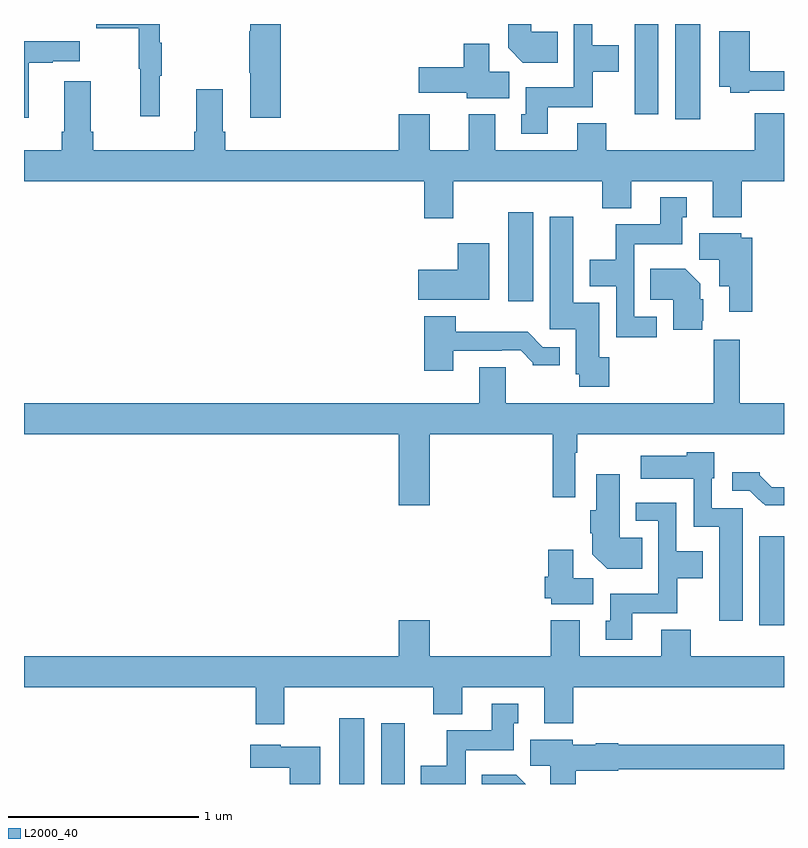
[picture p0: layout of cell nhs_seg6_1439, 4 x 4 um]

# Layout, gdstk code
import gdstk
lib = gdstk.Library(unit=1e-6, precision=1e-09)
def R(c, l, rs):  # rectangles x0, y0, x1, y1
    for r in rs: c.add(gdstk.rectangle(r[:2], r[2:], *l))
def P(c, l, *ps):  # polygons
    for p in ps: c.add(gdstk.Polygon(p, *l))
L2000_40 = (2000, 40)

nhs_seg6_1439 = lib.new_cell('nhs_seg6_1439')
R(nhs_seg6_1439, L2000_40, [(200.66,941.5,200.791,941.845), (200.879,941.5,201.004,941.821), (202.871,942.336,203,942.805), (201.548,944.04,201.679,944.509), (202.427,945,202.558,945.5), (202.214,945.024,202.339,945.5)])
P(nhs_seg6_1439, L2000_40, [(199.715,945.227),(199.726,945.227),(199.726,945.401),(199.715,945.401),(199.715,945.5),(199,945.5),(199,945.498),(199.381,945.498),(199.381,945.478),(199.605,945.478),(199.605,945.264),(199.612,945.264),(199.612,945.015),(199.715,945.015)],
  [(200.351,945.5),(200.192,945.5),(200.192,945.461),(200.185,945.461),(200.185,945.244),(200.192,945.244),(200.192,945.006),(200.351,945.006)],
  [(201.809,945.46),(201.67,945.46),(201.67,945.5),(201.548,945.5),(201.548,945.374),(201.626,945.296),(201.809,945.296)],
  [(201.757,945.062),(201.993,945.062),(201.993,945.248),(202.129,945.248),(202.129,945.388),(201.99,945.388),(201.99,945.5),(201.894,945.5),(201.894,945.166),(201.641,945.166),(201.641,945.024),(201.617,945.024),(201.617,944.922),(201.757,944.922)],
  [(202.816,945.15),(203,945.15),(203,945.251),(202.82,945.251),(202.82,945.463),(202.658,945.463),(202.658,945.17),(202.716,945.17),(202.716,945.138),(202.816,945.138)],
  [(199.024,945.295),(199.151,945.295),(199.151,945.305),(199.294,945.305),(199.294,945.409),(199,945.409),(199,945.006),(199.024,945.006)],
  [(201.553,945.248),(201.448,945.248),(201.448,945.397),(201.314,945.397),(201.314,945.272),(201.078,945.272),(201.078,945.137),(201.33,945.137),(201.33,945.11),(201.553,945.11)],
  [(201.259,944.672),(202.043,944.672),(202.043,944.531),(202.195,944.531),(202.195,944.672),(202.625,944.672),(202.625,944.483),(202.778,944.483),(202.778,944.672),(203,944.672),(203,945.031),(202.847,945.031),(202.847,944.836),(202.064,944.836),(202.064,944.977),(201.911,944.977),(201.911,944.836),(201.481,944.836),(201.481,945.025),(201.341,945.025),(201.341,944.836),(201.136,944.836),(201.136,945.025),(200.972,945.025),(200.972,944.836),(200.06,944.836),(200.06,944.932),(200.047,944.932),(200.047,945.157),(199.907,945.157),(199.907,944.932),(199.895,944.932),(199.895,944.836),(199.364,944.836),(199.364,944.932),(199.351,944.932),(199.351,945.199),(199.211,945.199),(199.211,944.932),(199.199,944.932),(199.199,944.836),(199,944.836),(199,944.672),(201.107,944.672),(201.107,944.478),(201.259,944.478)],
  [(202.33,943.959),(202.212,943.959),(202.212,944.342),(202.465,944.342),(202.465,944.484),(202.489,944.484),(202.489,944.587),(202.349,944.587),(202.349,944.446),(202.114,944.446),(202.114,944.26),(201.977,944.26),(201.977,944.12),(202.116,944.12),(202.116,943.851),(202.33,943.851)],
  [(202.079,943.746),(202.027,943.746),(202.027,944.032),(201.892,944.032),(201.892,944.485),(201.767,944.485),(201.767,943.893),(201.905,943.893),(201.905,943.656),(201.922,943.656),(201.922,943.59),(202.079,943.59)],
  [(202.834,944.374),(202.776,944.374),(202.776,944.398),(202.553,944.398),(202.553,944.26),(202.658,944.26),(202.658,944.12),(202.712,944.12),(202.712,943.986),(202.834,943.986)],
  [(201.448,944.347),(201.284,944.347),(201.284,944.206),(201.075,944.206),(201.075,944.048),(201.448,944.048)],
  [(202.57,943.938),(202.576,943.938),(202.576,944.052),(202.558,944.052),(202.558,944.134),(202.48,944.212),(202.297,944.212),(202.297,944.048),(202.418,944.048),(202.418,943.891),(202.57,943.891)],
  [(201.259,943.779),(201.515,943.779),(201.515,943.782),(201.614,943.782),(201.678,943.718),(201.678,943.703),(201.82,943.703),(201.82,943.8),(201.729,943.8),(201.651,943.879),(201.272,943.879),(201.272,943.963),(201.107,943.963),(201.107,943.674),(201.259,943.674)],
  [(201.136,943.34),(201.784,943.34),(201.784,943.008),(201.9,943.008),(201.9,943.244),(201.913,943.244),(201.913,943.34),(203,943.34),(203,943.504),(202.766,943.504),(202.766,943.837),(202.63,943.837),(202.63,943.504),(201.535,943.504),(201.535,943.694),(201.395,943.694),(201.395,943.504),(199,943.504),(199,943.34),(200.972,943.34),(200.972,942.966),(201.136,942.966)],
  [(202.783,942.951),(202.62,942.951),(202.62,943.11),(202.633,943.11),(202.633,943.246),(202.488,943.246),(202.488,943.228),(202.245,943.228),(202.245,943.106),(202.524,943.106),(202.524,942.854),(202.658,942.854),(202.658,942.36),(202.783,942.36)],
  [(203,943.062),(202.936,943.062),(202.872,943.126),(202.872,943.141),(202.728,943.141),(202.728,943.044),(202.821,943.044),(202.86,943.005),(202.9,942.966),(203,942.966)],
  [(202.253,942.796),(202.135,942.796),(202.135,943.129),(202.013,943.129),(202.013,942.942),(201.98,942.942),(201.98,942.82),(201.992,942.82),(201.992,942.71),(202.07,942.632),(202.253,942.632)],
  [(202.201,942.398),(202.437,942.398),(202.437,942.584),(202.573,942.584),(202.573,942.724),(202.434,942.724),(202.434,942.981),(202.221,942.981),(202.221,942.885),(202.338,942.885),(202.338,942.502),(202.085,942.502),(202.085,942.36),(202.061,942.36),(202.061,942.258),(202.201,942.258)],
  [(201.997,942.584),(201.892,942.584),(201.892,942.733),(201.758,942.733),(201.758,942.591),(201.74,942.591),(201.74,942.477),(201.774,942.477),(201.774,942.446),(201.997,942.446)],
  [(200.371,942.008),(201.155,942.008),(201.155,941.867),(201.307,941.867),(201.307,942.008),(201.737,942.008),(201.737,941.819),(201.89,941.819),(201.89,942.008),(203,942.008),(203,942.172),(202.508,942.172),(202.508,942.313),(202.355,942.313),(202.355,942.172),(201.925,942.172),(201.925,942.361),(201.773,942.361),(201.773,942.172),(201.136,942.172),(201.136,942.361),(200.972,942.361),(200.972,942.172),(199,942.172),(199,942.008),(200.219,942.008),(200.219,941.814),(200.371,941.814)],
  [(201.324,941.678),(201.577,941.678),(201.577,941.82),(201.601,941.82),(201.601,941.923),(201.461,941.923),(201.461,941.782),(201.226,941.782),(201.226,941.596),(201.089,941.596),(201.089,941.5),(201.324,941.5)],
  [(201.905,941.57),(202.128,941.57),(202.128,941.578),(203,941.578),(203,941.707),(202.128,941.707),(202.128,941.715),(202.008,941.715),(202.008,941.707),(201.888,941.707),(201.888,941.734),(201.665,941.734),(201.665,941.596),(201.77,941.596),(201.77,941.5),(201.905,941.5)],
  [(200.56,941.695),(200.352,941.695),(200.352,941.707),(200.19,941.707),(200.19,941.585),(200.398,941.585),(200.398,941.5),(200.56,941.5)],
  [(201.592,941.548),(201.409,941.548),(201.409,941.5),(201.64,941.5)])

lib.write_gds('nhs_seg6_1439.gds')
